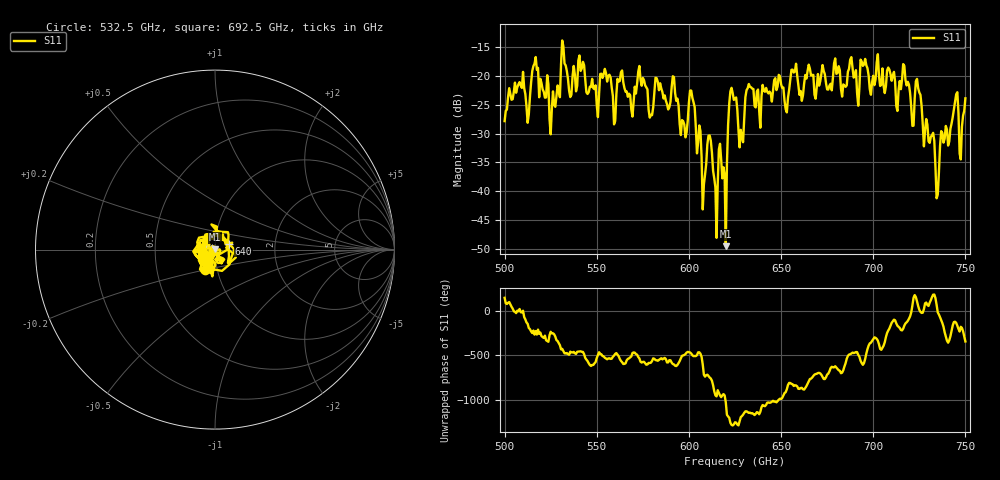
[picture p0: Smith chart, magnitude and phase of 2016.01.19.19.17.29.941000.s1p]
!Created with skrf (http://scikit-rf.org).
# GHz S RI R 50.0
!freq ReS11 ImS11
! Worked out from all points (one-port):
!   401 points, 500 GHz to 750 GHz, reference 50 ohm
!   lowest |S11| = -49.5 dB at 620 GHz (marker M1), VSWR 1.01, Z = 50.2 + j0.271 ohm
!   |S11| at or under -10 dB: start of sweep to end of sweep
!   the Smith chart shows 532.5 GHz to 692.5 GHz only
!   S11 on the Smith chart (normalised r, x): 532.5 GHz: 0.87, -0.20; 640 GHz: 1.16, +0.08; 692.5 GHz: 0.86, -0.06
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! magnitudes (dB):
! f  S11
! 500 GHz  -27.8
! 512.5 GHz  -28.1
! 516.9 GHz  -16.8
! 525.6 GHz  -25.7
! 531.2 GHz  -13.9
! 532.5 GHz  -17.9
! 559.4 GHz  -28.4
! 562.5 GHz  -20.9
! 593.8 GHz  -23.9
! 601.9 GHz  -23.8
! 608.1 GHz  -38.8
! 611.2 GHz  -30.3
! 614.4 GHz  -39.3
! 620 GHz  -49.5
! 622.5 GHz  -22.7
! 625 GHz  -24.0
! 628.1 GHz  -29.4
! 631.9 GHz  -22.2
! 640 GHz  -21.6
! 656.2 GHz  -18.9
! 687.5 GHz  -17.2
! 692.5 GHz  -22.0
! 718.8 GHz  -21.0
! 724.4 GHz  -22.1
! 735 GHz  -40.6
! 744.4 GHz  -24.5
! 747.5 GHz  -34.5
! 750 GHz  -23.9
